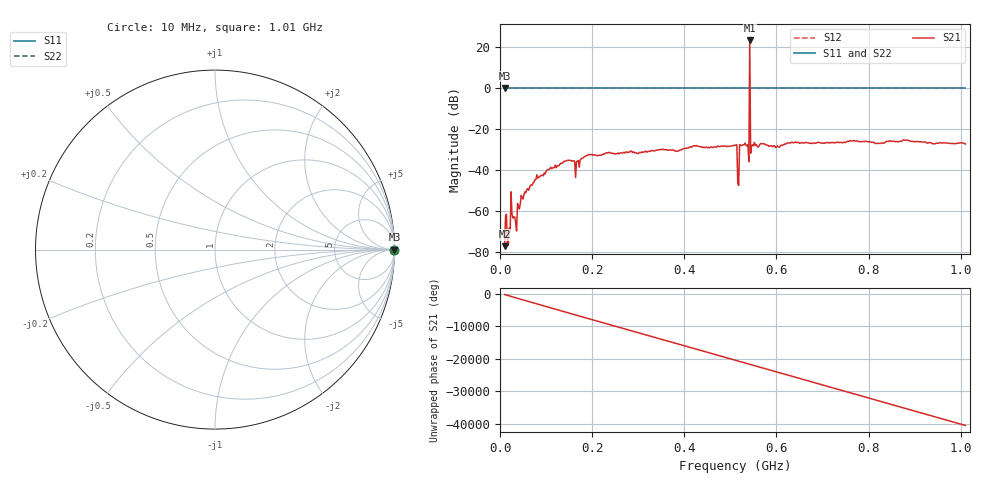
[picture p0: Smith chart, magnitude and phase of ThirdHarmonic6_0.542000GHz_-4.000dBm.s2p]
! 8/15/2025 5:01:56 PM
! C:\ANRITSUVNA\TEMP\TEMP.S2P
! CHANNEL.1
! TR.MEASUREMENT
! RAW.DATA
! RF.CORRECTION.OFF
! AVERAGING.OFF
! IF.BANDWIDTH: 5KHZ
! SWEEPTYPE:  FREQ.SWEEP(Linear)
! Reference Plane Port Info
! PORT:  PORT1  PORT2
! DISTANCE:  0  m  0  m
! TIME:  0  s  0  s
! PHASE.OFFSET:  0  deg.  0  deg.
! LOSS:  0  dB  0  dB
! REF.LOSS:  0  dB  0  dB
! REF.FREQ:  0  Hz  0  Hz
! Power Info
! POWER:  -20  dBm  -20  dBm
! EFF.POWER:  -20  dBm  -20  dBm
! SOURCE.ATTEN:  0  dB  0  dB
! TEST.ATTEN:  0  dB  0  dB
# GHZ S RI R 50.0
! FREQ.GHZ  S11RE  S11IM  S21RE  S21IM  S12RE  S12IM  S22RE  S22IM
!; PortSelection: Port_12
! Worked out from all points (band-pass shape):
!   501 points, 10 MHz to 1.01 GHz, reference 50 ohm
!   highest |S21| = 23.23 dB at 542 MHz (marker M1); lowest = -77.3 dB at 10 MHz (marker M2)
!   |S21| within 3 dB of the highest: 541.8987 MHz to 542.1089 MHz (210.2 kHz wide, 0.0388 % of centre)
!   lowest |S11| = 0.0 dB at 10 MHz (marker M3)
!   |S11| at or under -10 dB: nowhere
!   |S22| runs from 0.0 to 0.0 dB; largest |S21 - S12| = 14
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0.01  1 0  -0.000134 -2.74e-05  1 0  1 0
0.018  1 0  2.08e-05 -0.00014  1 0  1 0
0.028  1 0  -0.000665 -3.28e-05  1 0  1 0
0.032  1 0  0.000703 -9.9e-06  1 0  1 0
0.05  1 0  0.00191 -0.000284  1 0  1 0
0.08  1 0  -0.00744 -0.00139  1 0  1 0
0.142  1 0  -0.0154 -0.00568  1 0  1 0
0.168  1 0  -0.0104 -0.0124  1 0  1 0
0.178  1 0  -0.019 -0.00337  1 0  1 0
0.344  1 0  0.0292 -0.00931  1 0  1 0
0.51  1 0  -0.0341 0.021  1 0  1 0
0.514  1 0  0.0401 -0.00785  1 0  1 0
0.52  1 0  -0.0122 0.0396  1 0  1 0
0.524  1 0  0.0213 -0.0328  1 0  1 0
0.536  1 0  -0.0386 -0.00295  1 0  1 0
0.538  1 0  -0.009 0.0404  1 0  1 0
0.542  1 0  8.565 -11.71  1 0  1 0
0.546  1 0  -0.03 0.0239  1 0  1 0
0.548  1 0  0.0216 0.0347  1 0  1 0
0.678  1 0  -0.0264 -0.0351  1 0  1 0
0.844  1 0  0.0425 0.0265  1 0  1 0
1.01  1 0  -0.0428 -0.00101  1 0  1 0
